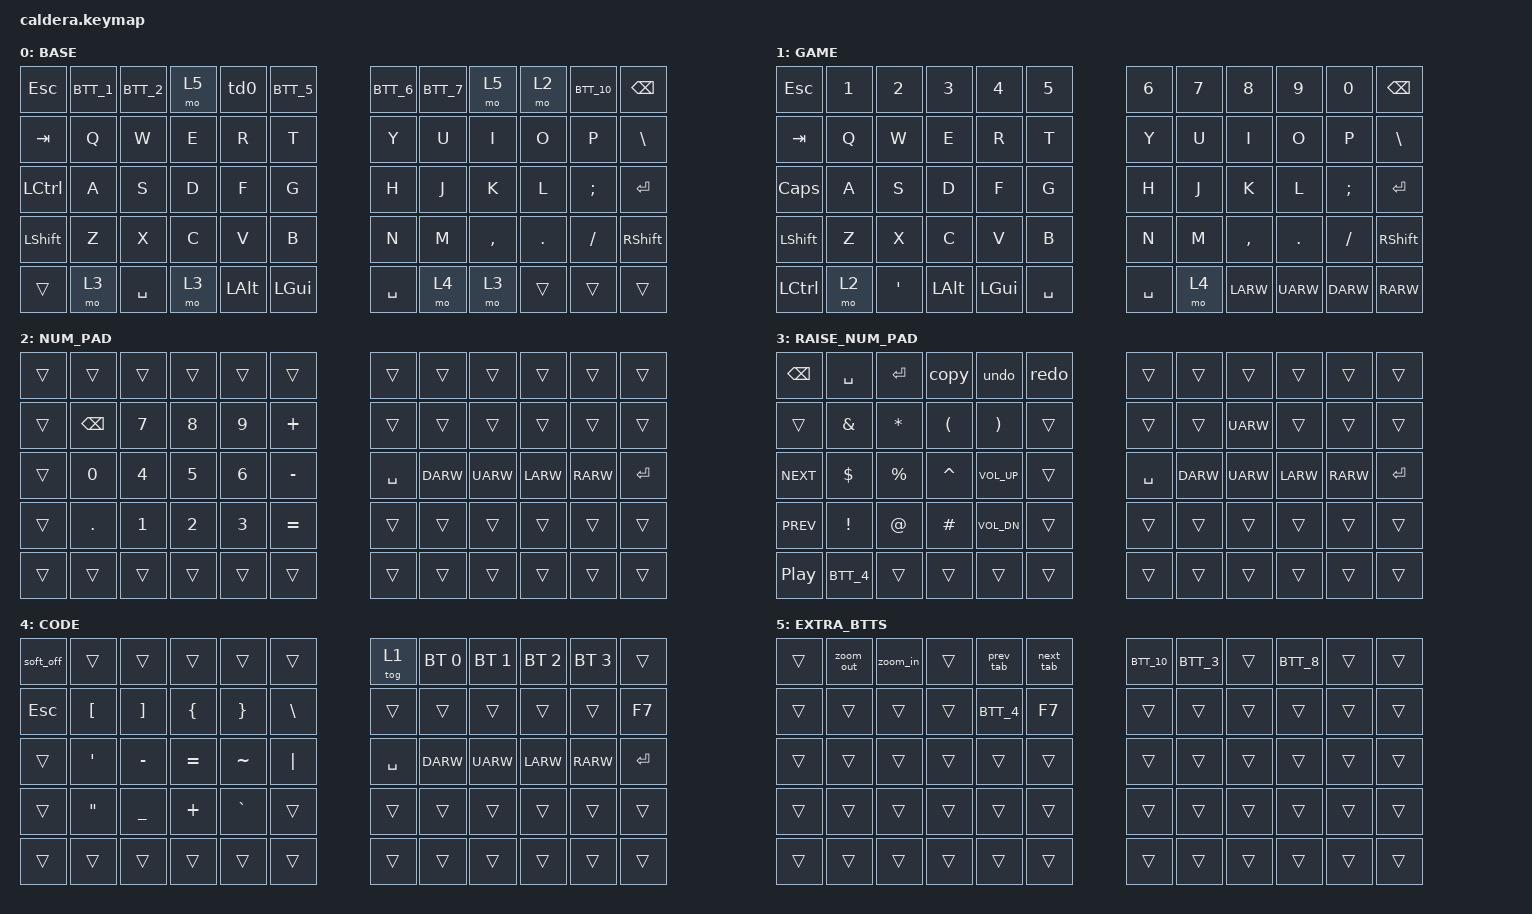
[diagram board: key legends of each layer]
#include <behaviors.dtsi>
#include <dt-bindings/zmk/keys.h>
#include <dt-bindings/zmk/bt.h>
#include <dt-bindings/zmk/ext_power.h>

#define BASE 0
#define GAME 1
#define NUM_PAD 2
#define RAISE_NUM_PAD 3
#define CODE 4
#define EXTRA_BTTS 5

/ {
    macros {
        BTT_1: BTT_1 {
            compatible = "zmk,behavior-macro";
            #binding-cells = <0>;
            bindings
                = <&macro_press &kp LSHFT>
                , <&macro_press &kp LGUI>
                , <&macro_tap &kp N1>
                , <&macro_release &kp LGUI>
                , <&macro_release &kp LSHFT>
                ;
        };
        BTT_2: BTT_2 {
            compatible = "zmk,behavior-macro";
            #binding-cells = <0>;
            bindings
                = <&macro_press &kp LSHFT>
                , <&macro_press &kp LGUI>
                , <&macro_tap &kp N2>
                , <&macro_release &kp LGUI>
                , <&macro_release &kp LSHFT>
                ;
        };
        BTT_3: BTT_3 {
            compatible = "zmk,behavior-macro";
            #binding-cells = <0>;
            bindings
                = <&macro_press &kp LSHFT>
                , <&macro_press &kp LGUI>
                , <&macro_tap &kp N3>
                , <&macro_release &kp LGUI>
                , <&macro_release &kp LSHFT>
                ;
        };
        BTT_4: BTT_4 {
            compatible = "zmk,behavior-macro";
            #binding-cells = <0>;
            bindings
                = <&macro_press &kp LSHFT>
                , <&macro_press &kp LGUI>
                , <&macro_tap &kp N4>
                , <&macro_release &kp LGUI>
                , <&macro_release &kp LSHFT>
                ;
        };
        BTT_5: BTT_5 {
            compatible = "zmk,behavior-macro";
            #binding-cells = <0>;
            bindings
                = <&macro_press &kp LSHFT>
                , <&macro_press &kp LGUI>
                , <&macro_tap &kp N5>
                , <&macro_release &kp LGUI>
                , <&macro_release &kp LSHFT>
                ;
        };
        BTT_6: BTT_6 {
            compatible = "zmk,behavior-macro";
            #binding-cells = <0>;
            bindings
                = <&macro_press &kp LSHFT>
                , <&macro_press &kp LGUI>
                , <&macro_tap &kp N6>
                , <&macro_release &kp LGUI>
                , <&macro_release &kp LSHFT>
                ;
        };
        BTT_7: BTT_7 {
            compatible = "zmk,behavior-macro";
            #binding-cells = <0>;
            bindings
                = <&macro_press &kp LSHFT>
                , <&macro_press &kp LGUI>
                , <&macro_tap &kp N7>
                , <&macro_release &kp LGUI>
                , <&macro_release &kp LSHFT>
                ;
        };
        BTT_8: BTT_8 {
            compatible = "zmk,behavior-macro";
            #binding-cells = <0>;
            bindings
                = <&macro_press &kp LSHFT>
                , <&macro_press &kp LGUI>
                , <&macro_tap &kp N8>
                , <&macro_release &kp LGUI>
                , <&macro_release &kp LSHFT>
                ;
        };
        BTT_9: BTT_9 {
            compatible = "zmk,behavior-macro";
            #binding-cells = <0>;
            bindings
                = <&macro_press &kp LSHFT>
                , <&macro_press &kp LGUI>
                , <&macro_tap &kp N9>
                , <&macro_release &kp LGUI>
                , <&macro_release &kp LSHFT>
                ;
        };
        BTT_0: BTT_0 {
            compatible = "zmk,behavior-macro";
            #binding-cells = <0>;
            bindings
                = <&macro_press &kp LSHFT>
                , <&macro_press &kp LGUI>
                , <&macro_tap &kp N0>
                , <&macro_release &kp LGUI>
                , <&macro_release &kp LSHFT>
                ;
        };
        BTT_10: BTT_10 {
            compatible = "zmk,behavior-macro";
            #binding-cells = <0>;
            bindings
                = <&macro_press &kp LSHFT>
                , <&macro_press &kp LALT>
                , <&macro_tap &kp N1>
                , <&macro_release &kp LALT>
                , <&macro_release &kp LSHFT>
                ;
        };
        BTT_11: BTT_11 {
            compatible = "zmk,behavior-macro";
            #binding-cells = <0>;
            bindings
                = <&macro_press &kp LSHFT>
                , <&macro_press &kp LALT>
                , <&macro_tap &kp N2>
                , <&macro_release &kp LALT>
                , <&macro_release &kp LSHFT>
                ;
        };
        BTT_12: BTT_12 {
            compatible = "zmk,behavior-macro";
            #binding-cells = <0>;
            bindings
                = <&macro_press &kp LSHFT>
                , <&macro_press &kp LALT>
                , <&macro_tap &kp N3>
                , <&macro_release &kp LALT>
                , <&macro_release &kp LSHFT>
                ;
        };
        zoom_in: zoom_in {
            compatible = "zmk,behavior-macro";
            #binding-cells = <0>;
            bindings
                = <&macro_press &kp LCMD>
                , <&macro_tap &kp EQUAL>
                , <&macro_release &kp LCMD>
                ;
        };
        zoom_out: zoom_out {
            compatible = "zmk,behavior-macro";
            #binding-cells = <0>;
            bindings
                = <&macro_press &kp LCMD>
                , <&macro_tap &kp MINUS>
                , <&macro_release &kp LCMD>
                ;
        };
        prev_tab: prev_tab {
            compatible = "zmk,behavior-macro";
            #binding-cells = <0>;
            bindings
                = <&macro_press &kp LCTRL>
                , <&macro_press &kp LSHIFT>
                , <&macro_tap &kp TAB>
                , <&macro_release &kp LSHIFT>
                , <&macro_release &kp LCTRL>
                ;
        };
        next_tab: next_tab {
            compatible = "zmk,behavior-macro";
            #binding-cells = <0>;
            bindings
                = <&macro_press &kp LCTRL>
                , <&macro_tap &kp TAB>
                , <&macro_release &kp LCTRL>
                ;
        };
        copy: copy {
            compatible = "zmk,behavior-macro";
            #binding-cells = <0>;
            bindings
                = <&macro_press &kp LGUI>
                , <&macro_tap &kp C>
                , <&macro_release &kp LGUI>
                ;
        };
        paste: paste {
            compatible = "zmk,behavior-macro";
            #binding-cells = <0>;
            bindings
                = <&macro_press &kp LGUI>
                , <&macro_tap &kp V>
                , <&macro_release &kp LGUI>
                ;
        };
        undo: undo {
            compatible = "zmk,behavior-macro";
            #binding-cells = <0>;
            bindings
                = <&macro_press &kp LGUI>
                , <&macro_tap &kp Z>
                , <&macro_release &kp LGUI>
                ;
        };
        redo: redo {
            compatible = "zmk,behavior-macro";
            #binding-cells = <0>;
            bindings
                = <&macro_press &kp LGUI>
                , <&macro_press &kp LSHIFT>
                , <&macro_tap &kp Z>
                , <&macro_release &kp LSHIFT>
                , <&macro_release &kp LGUI>
                ;
        };
        vscode_term_up: vscode_term_up {
            compatible = "zmk,behavior-macro";
            #binding-cells = <0>;
            bindings
                = <&macro_press &kp LGUI>
                , <&macro_press &kp LSHIFT>
                , <&macro_tap &kp LBKT>
                , <&macro_release &kp LSHIFT>
                , <&macro_release &kp LGUI>
                ;
        };
        vscode_term_down: vscode_term_down {
            compatible = "zmk,behavior-macro";
            #binding-cells = <0>;
            bindings
                = <&macro_press &kp LGUI>
                , <&macro_press &kp LSHIFT>
                , <&macro_tap &kp RBKT>
                , <&macro_release &kp LSHIFT>
                , <&macro_release &kp LGUI>
                ;
        };
    };
};

&lt {
    tapping-term-ms = <200>;
};

/ {
        behaviors {
            td0: tap_dance_0 {
                compatible = "zmk,behavior-tap-dance";
                #binding-cells = <0>;
                tapping-term-ms = <200>;
                bindings = <&BTT_11>, <&BTT_12>;
            };
            ht_hp: hold_tap { 
                compatible = "zmk,behavior-hold-tap";
                #binding-cells = <2>;
                flavor = "hold-preferred";
                tapping-term-ms = <400>;
                quick-tap-ms = <200>;
                bindings = <&mo>, <&kp>;
            };
            ht_hp_0: hold_tap_0 { 
                compatible = "zmk,behavior-hold-tap";
                #binding-cells = <2>;
                flavor = "hold-preferred";
                tapping-term-ms = <400>;
                quick-tap-ms = <200>;
                bindings = <&mo>, <&BTT_3>;
            };
            ht_hp_1: hold_tap_1 { 
                compatible = "zmk,behavior-hold-tap";
                #binding-cells = <2>;
                flavor = "hold-preferred";
                tapping-term-ms = <400>;
                quick-tap-ms = <200>;
                bindings = <&mo>, <&BTT_8>;
            };
        };
        keymap {     
                compatible = "zmk,keymap";

                BASE {
// ------------------------------------------------------------------------------------------
// |  ESC |BTT1 | BTT2|   L5   |BTT11/12| BTT5|-----| BTT6| BTT7|   L5  | L2  |     | BKSP |
// |  TAB |  Q  |  W  |    E   |   R    |  T  |-----|  Y  |  U  |   I   |  O  |  P  |   \  |
// | CTRL |  A  |  S  |    D   |   F    |  G  |-----|  H  |  J  |   K   |  L  |  ;  |  ENT |  
// | SHFT |  Z  |  X  |    C   |   V    |  B  |-----|  N  |  M  |   ,   |  .  |  /  | SHFT |
// |      | ALOW| SPC |   L 3  |  ALT   | CMD |-----| SP  | L 2 |  L 3  |     |     |      |
// ------------------------------------------------------------------------------------------

                        bindings = <
   &kp ESC    &BTT_1    &BTT_2      &mo 5          &td0       &BTT_5               &BTT_6          &BTT_7  &mo 5         &mo 2    &BTT_10    &kp BSPC
   &kp TAB    &kp Q     &kp W       &kp E          &kp R      &kp T                &kp Y           &kp U   &kp I          &kp O     &kp P      &kp BSLH
   &kp LCTRL  &kp A     &kp S       &kp D          &kp F      &kp G                &kp H           &kp J   &kp K          &kp L     &kp SEMI   &kp RET
   &kp LSHFT  &kp Z     &kp X       &kp C          &kp V      &kp B                &kp N           &kp M   &kp COMMA      &kp DOT   &kp FSLH   &kp RSHFT
   &trans     &mo 3     &kp SPACE   &mo 3          &kp LALT   &kp LGUI             &kp SPACE       &mo 4   &mo 3          &trans    &trans     &trans
                        >;
                };
                GAME {
// ---------------------------------------------------------------------------------
// |  ESC |  1  |  2  |  3  |  4  |  5  |-----|  6  |  7  |  8  |  9  |  0  | BKSP |
// |  TAB |  Q  |  W  |  E  |  R  |  T  |-----|  Y  |  U  |  I  |  O  |  P  |  \   |
// | CAPS |  A  |  S  |  D  |  F  |  G  |-----|  H  |  J  |  K  |  L  |  ;  |  ENT |  
// | SHFT |  Z  |  X  |  C  |  V  |  B  |-----|  N  |  M  |  ,  |  .  |  /  | SHFT |
// | CTRL | LOW |  '  | ALT | CMD | SPC |-----| SPC | LOW |LARW |UARW |DARW | RARW |
// ---------------------------------------------------------------------------------

                        bindings = <
   &kp ESC    &kp N1     &kp N2    &kp N3     &kp N4     &kp N5               &kp N6     &kp N7  &kp N8     &kp N9    &kp N0    &kp BSPC
   &kp TAB    &kp Q      &kp W     &kp E      &kp R      &kp T                &kp Y      &kp U   &kp I      &kp O     &kp P     &kp BSLH
   &kp CAPS   &kp A      &kp S     &kp D      &kp F      &kp G                &kp H      &kp J   &kp K      &kp L     &kp SEMI  &kp RET
   &kp LSHFT  &kp Z      &kp X     &kp C      &kp V      &kp B                &kp N      &kp M   &kp COMMA  &kp DOT   &kp FSLH  &kp RSHFT
   &kp LCTRL  &mo 2  &kp APOS  &kp LALT   &kp LGUI   &kp SPACE             &kp SPACE  &mo 4   &kp LARW   &kp UARW  &kp DARW  &kp RARW
                        >;
                };
                NUM_PAD {
// ------------------------------------------------------------------------------------------------------------
// |       |       |       |       |       |       |----------|       |       |       |       |       |       |   
// |       |  BKSP |   7   |   8   |   9   |   +   |----------|       |       |       |       |       |       |   
// |       |   0   |   4   |   5   |   6   |   -   |----------|  SPC  | DARW  | UARW  | LARW  | RARW  | ENTER |   
// |       |   .   |   1   |   2   |   3   |   =   |----------|       |       |       |       |       |       |   
// |       |       |       |       |       |       |----------|       |-------|       |       |       |       |
// ------------------------------------------------------------------------------------------------------------

                        bindings = <
    &trans    &trans      &trans        &trans        &trans       &trans                      &trans         &trans     &trans       &trans       &trans    &trans
    &trans    &kp BSPC    &kp N7        &kp N8        &kp N9       &kp PLUS                    &trans          &trans      &trans      &trans       &trans    &trans     
    &trans    &kp N0      &kp N4        &kp N5        &kp N6       &kp MINUS                   &kp SPACE       &kp DARW    &kp UARW    &kp LARW    &kp RARW  &kp RET 
    &trans    &kp DOT     &kp N1        &kp N2        &kp N3       &kp EQUAL                   &trans          &trans      &trans      &trans      &trans             &trans    
    &trans    &trans      &trans        &trans        &trans       &trans                      &trans          &trans      &trans      &trans      &trans            &trans    
                        >;
                };
                RAISE_NUM_PAD {
// ------------------------------------------------------------------------------------------------------------
// | BKSP  |  SPC  | ENTER | COPY  |  UNDO |  REDO |----------|       |       |       |       |       |       |   
// |       |   &   |   *   |   (   |   )   |       |----------|       |       |       |       |       |       |   
// | NEXT  |   $   |   %   |   ^   |VOL_UP |       |----------|  SPC  | DARW  | UARW  | LARW  | RARW  | ENTER |   
// | PREV  |   !   |   @   |   #   |VOL_DN |       |----------|       |       |       |       |       |       |   
// | PAUSE |       |=======|-------|=======|=======|----------|       |       |-------|       |       |       |
// ------------------------------------------------------------------------------------------------------------

                        bindings = <
   &kp BSPC    &kp SPACE     &kp RET       &copy        &undo          &redo                  &trans          &trans      &trans      &trans      &trans             &trans
   &trans      &kp AMPS      &kp ASTRK     &kp LPAR     &kp RPAR       &trans                 &trans          &trans      &kp UARW    &trans      &trans    &trans  
   &kp C_NEXT  &kp DLLR      &kp PERCENT   &kp CARET    &kp C_VOL_UP   &trans                 &kp SPACE       &kp DARW          &kp UARW        &kp LARW      &kp RARW  &kp RET
   &kp C_PREV  &kp EXCL      &kp AT        &kp HASH     &kp C_VOL_DN   &trans                 &trans          &trans      &trans      &trans      &trans             &trans   
   &kp C_PP    &BTT_4        &trans        &trans       &trans         &trans                 &trans          &trans      &trans      &trans      &trans            &trans    
                        >;
                };
                CODE {
// ------------------------------------------------------------------------------------------------------------
// |SOFTOFF|       |       |       |       |       |----------|TOGLAYR|  BT1  |  BT2  |  BT3  |  BT4  |========|   
// |  ESC  |  LBKT |  RBKT |LBRACE |RBRACE |   \   |----------|       |       |       |       |       |        |   
// |       |   '   |   -   |   =   |   ~   |   |   |----------|  SPC  | DARW  | UARW  | LARW  | RARW  | ENTER  |   
// |       |   "   |   _   |   +   |   `   |       |----------|       |       |       |       |       |        |   
// |       |       |       |       |       |       |----------|       |-------|       |       | BTT11 |        |
// ------------------------------------------------------------------------------------------------------------

                        bindings = <
   &soft_off    &trans         &trans     &trans          &trans           &trans               &tog 1          &bt BT_SEL 0      &bt BT_SEL 1    &bt BT_SEL 2   &bt BT_SEL 3       &trans
   &kp ESC      &kp LBKT       &kp RBKT   &kp LEFT_BRACE  &kp RIGHT_BRACE  &kp BSLH             &trans          &trans            &trans        &trans         &trans    &kp F7       
   &trans       &kp APOS       &kp MINUS  &kp EQUAL       &kp TILDE        &kp PIPE             &kp SPACE       &kp DARW          &kp UARW        &kp LARW      &kp RARW  &kp RET     
   &trans       &kp DQT        &kp UNDER  &kp PLUS        &kp GRAVE        &trans               &trans          &trans            &trans          &trans         &trans             &trans  
   &trans       &trans         &trans     &trans          &trans           &trans               &trans          &trans            &trans          &trans         &trans            &trans  
                        >;
                };
                EXTRA_BTTS {
// ------------------------------------------------------------------------------------------------------------
// |       |ZOOMOUT|ZOOMIN |-------|PREVTAB|NEXTTAB|----------| BTT10 | BTT3  |-------|  BTT8 |       |        |   
// |       |       |       |       |SCRSTCP|   F7  |----------|       |       |       |       |       |        |   
// |       |       |       |       |       |       |----------|       |       |       |       |       |        |   
// |       |       |       |       |       |       |----------|       |       |       |       |       |        |   
// |       |       |       |       |       |       |----------|       |       |       |       |       |        |
// ------------------------------------------------------------------------------------------------------------

                        bindings = <
   &trans       &zoom_out   &zoom_in    &trans      &prev_tab    &next_tab                 &BTT_10      &BTT_3      &trans      &BTT_8      &trans       &trans
   &trans       &trans      &trans      &trans      &BTT_4       &kp F7                    &trans       &trans      &trans      &trans      &trans       &trans
   &trans       &trans      &trans      &trans      &trans       &trans                    &trans       &trans      &trans      &trans      &trans       &trans
   &trans       &trans      &trans      &trans      &trans       &trans                    &trans       &trans      &trans      &trans      &trans       &trans 
   &trans       &trans      &trans      &trans      &trans       &trans                    &trans       &trans      &trans      &trans      &trans       &trans  
                        >;
                };
        };
};
